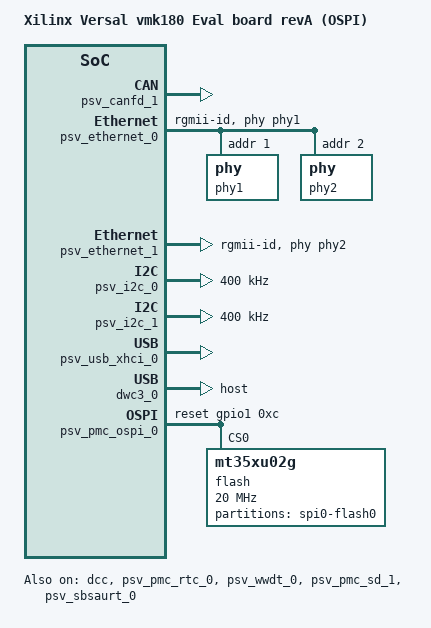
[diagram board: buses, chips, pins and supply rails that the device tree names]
// SPDX-License-Identifier: GPL-2.0
/*
 * dts file for Xilinx Versal vmk180 revA with X-EBM-03-revA module
 *
 * (C) Copyright 2020, Xilinx, Inc.
 *
 * Michal Simek <michal.simek@xilinx.com>
 */
#include "include/dt-bindings/gpio/gpio.h"
/ {
	compatible = "xlnx,versal-vmk180-revA-x-ebm-03-revA",
		     "xlnx,versal-vmk180-revA", "xlnx,versal";
	model = "Xilinx Versal vmk180 Eval board revA (OSPI)";

	chosen {
		bootargs = "console=ttyAMA0 earlycon=pl011,mmio32,0xFF000000,115200n8 clk_ignore_unused";
		stdout-path = "serial0:115200";
	};

	aliases {
		serial0 = &psv_sbsaurt_0;
		ethernet0 = &psv_ethernet_0;
		ethernet1 = &psv_ethernet_1;
		i2c0 = &psv_i2c_0;
		i2c1 = &psv_i2c_1;
		mmc0 = &psv_pmc_sd_1;
		spi0 = &psv_pmc_qspi_0;
		usb0 = &psv_usb_xhci_0;
		rtc0 = &psv_pmc_rtc_0;
	};
};

/* PMC_MIO 0 -12 - configuration header QSPI/OSPI/EMMC */
/* FIXME PMC_MIO37 ZU4_TRIGGER/PMC_MIO37/38 PCIE */

&psv_canfd_1 { /* MIO40-41 */
	status = "okay";
};

&dcc {
	status = "okay";
};

&psv_pmc_rtc_0 {
	status = "okay";
};

&psv_gpio_0 {
	status = "okay";
};

&psv_gpio_1 {
	status = "okay";
};

&psv_wwdt_0 {
	status = "okay";
};

&psv_pmc_sd_1 { /* PMC_MIO26-36/51 */
	status = "okay";
	xlnx,mio_bank = <1>;
	no-1-8-v;
};

&psv_sbsaurt_0 { /* PMC_MIO42/43 */
	status = "okay";
};

&psv_ethernet_0 { /* PMC_MIO_48, LPD_MIO0-11/24/25 */
	status = "okay";
	phy-handle = <&phy1>; /* u128 */
	phy-mode = "rgmii-id";
	phy1: phy@1 {
		reg = <1>;
		ti,rx-internal-delay = <0xb>;
		ti,tx-internal-delay = <0xa>;
		ti,fifo-depth = <1>;
		ti,dp83867-rxctrl-strap-quirk;
	};
	phy2: phy@2 {
		reg = <2>;
		ti,rx-internal-delay = <0xb>;
		ti,tx-internal-delay = <0xa>;
		ti,fifo-depth = <1>;
		ti,dp83867-rxctrl-strap-quirk;
	};
};

&psv_ethernet_1 { /* PMC_MIO_49, LPD_MIO12-23 */
	status = "okay";
	phy-handle = <&phy2>; /* u134 */
	phy-mode = "rgmii-id";
};

&psv_i2c_0 { /* PMC_MIO46/47 */
	status = "okay";
	clock-frequency = <400000>;
};

&psv_i2c_1 { /* PMC_MIO44/45 */
	status = "okay";
	clock-frequency = <400000>;
};

&psv_usb_xhci_0 { /* PMC_MIO13_500 - PMC_MIO25 USB 2.0 */
	status = "okay";
	xlnx,usb-polarity = <0x0>;
	xlnx,usb-reset-mode = <0x0>;
};

&dwc3_0 { /* USB 2.0 host */
	status = "okay";
	dr_mode = "host";
	maximum-speed = "high-speed";
	snps,dis_u2_susphy_quirk;
	snps,dis_u3_susphy_quirk;
	snps,usb3_lpm_capable;
};

&psv_pmc_ospi_0 {
	/* U97 MT35XU02G */
	bus-num = <2>;
	num-cs = <1>;
	#stream-id-cells = <1>;
	#address-cells = <1>;
	#size-cells = <0>;
	reset-gpios = <&gpio1 0xc GPIO_ACTIVE_HIGH>;

	flash@0 {
		compatible = "mt35xu02g", "micron,m25p80", "jedec,spi-nor";
		reg = <0>;
		#address-cells = <1>;
		#size-cells = <1>;
		cdns,read-delay = <0x0>;
		cdns,tshsl-ns = <0x0>;
		cdns,tsd2d-ns = <0x0>;
		cdns,tchsh-ns = <0x1>;
		cdns,tslch-ns = <0x1>;
		spi-tx-bus-width = <1>;
		spi-rx-bus-width = <8>;
		spi-max-frequency = <20000000>;
		partition@0 {
			label = "spi0-flash0";
			reg = <0x0 0x8000000>;
		};
	};
};
